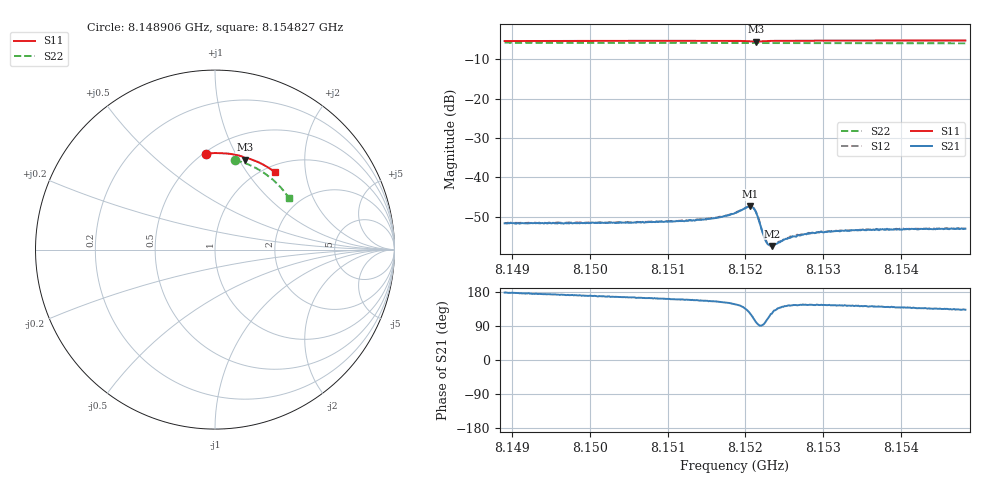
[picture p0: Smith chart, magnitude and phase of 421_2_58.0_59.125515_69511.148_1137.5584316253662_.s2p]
#  HZ  S  RI  R  50.00
! Rohde & Schwarz Vector Network Analyzer
! Rohde-Schwarz,ZNB20-2Port,1311601062101988,3.16
! Created: UTC 3/21/2024, 1:09:09 AM
! freq[Hz]  re:S11  im:S11  re:S21  im:S21  re:S12  im:S12  re:S22  im:S22
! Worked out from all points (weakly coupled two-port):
!   401 points, 8.148906 GHz to 8.154827 GHz, reference 50 ohm
!   highest |S21| = -47.35 dB at 8.152059 GHz (marker M1); lowest = -57.4 dB at 8.15234 GHz (marker M2)
!   lowest |S11| = -5.5 dB at 8.152133 GHz (marker M3), VSWR 3.24, Z = 38 + j52.9 ohm
!   |S11| at or under -10 dB: nowhere
!   |S22| runs from -6.0 to -5.8 dB; largest |S21 - S12| = 0.00011
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8.1489057e9  -0.0507 0.5343  -0.00262 8.91e-05  -0.00265 0.00015  0.1111 0.4989
8.1498976e9  0.0184 0.5381  -0.00261 0.000486  -0.00262 0.000489  0.1722 0.4799
8.1508895e9  0.0874 0.5329  -0.00262 0.000852  -0.0026 0.000916  0.2301 0.4533
8.1512004e9  0.1089 0.5293  -0.00263 0.000968  -0.00265 0.00103  0.2475 0.4437
8.1514668e9  0.1276 0.5254  -0.00268 0.00118  -0.00271 0.00122  0.2619 0.4347
8.1517185e9  0.1457 0.5205  -0.00286 0.00149  -0.00284 0.00153  0.2753 0.4257
8.1518665e9  0.1566 0.5164  -0.003 0.00191  -0.00294 0.00196  0.2831 0.4204
8.1520146e9  0.1669 0.5084  -0.00282 0.00305  -0.00281 0.00311  0.2905 0.4148
8.152059e9  0.1683 0.5045  -0.00235 0.00359  -0.00232 0.00362  0.2929 0.4129
8.1521034e9  0.1671 0.5018  -0.00141 0.00386  -0.0014 0.00388  0.2948 0.4112
8.152133e9  0.1655 0.5014  -0.000676 0.00362  -0.000662 0.00365  0.2962 0.4102
8.1521626e9  0.1645 0.5029  -0.000216 0.0031  -0.000152 0.00314  0.2977 0.409
8.1522367e9  0.1679 0.5074  -0.000139 0.00179  -0.000128 0.00181  0.3014 0.4064
8.1522663e9  0.1705 0.5084  -0.000343 0.0015  -0.000349 0.00155  0.3028 0.4053
8.1523107e9  0.1743 0.509  -0.000605 0.00125  -0.000563 0.00126  0.3051 0.4037
8.1523403e9  0.1769 0.509  -0.000722 0.00114  -0.000749 0.00112  0.3066 0.4025
8.1525771e9  0.1953 0.5053  -0.00138 0.00102  -0.00143 0.00107  0.3184 0.3928
8.1526808e9  0.2027 0.5028  -0.00152 0.00108  -0.00152 0.00108  0.3234 0.3886
8.1528584e9  0.2147 0.4985  -0.00165 0.00113  -0.0016 0.00114  0.3318 0.3811
8.1532433e9  0.2398 0.4876  -0.00172 0.00125  -0.00172 0.00125  0.3495 0.3641
8.1538503e9  0.2774 0.4685  -0.00165 0.00142  -0.00168 0.00143  0.3752 0.3361
8.1548274e9  0.3339 0.4317  -0.00152 0.00165  -0.00149 0.00167  0.4119 0.2871
